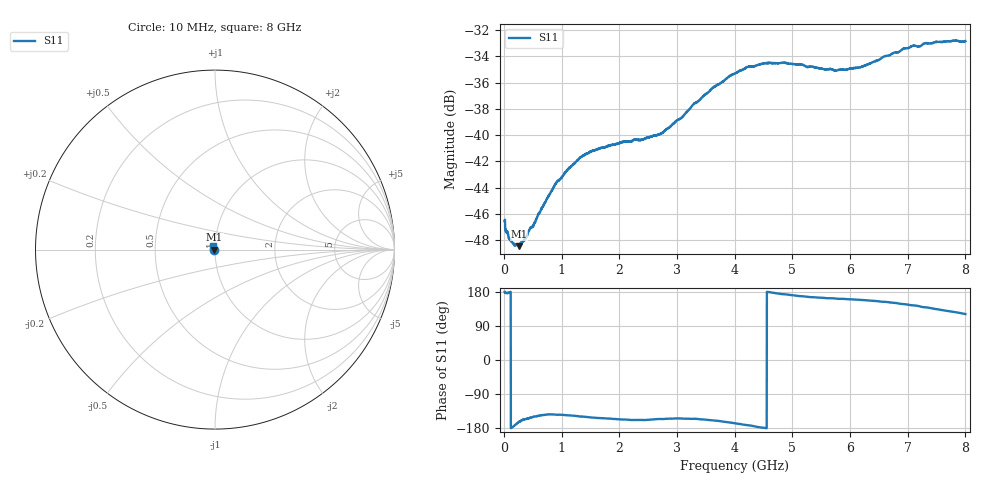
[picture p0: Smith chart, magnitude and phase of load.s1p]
! 1-Port measurement of an SMA(m) termination
# Hz S  dB  R 50
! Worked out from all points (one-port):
!   2501 points, 10 MHz to 8 GHz, reference 50 ohm
!   lowest |S11| = -48.5 dB at 259.3 MHz (marker M1), VSWR 1.01, Z = 49.6 - j0.109 ohm
!   |S11| at or under -10 dB: start of sweep to end of sweep
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1e7  -46.55 179.8
5.794e7  -47.37 175.8
1.18664e8  -48.06 -179.9
1.8578e8  -48.34 -172.1
2.59288e8  -48.47 -163.1
3.71148e8  -47.81 -156.2
4.51048e8  -47.13 -152.1
5.11772e8  -46.87 -150.1
8.82508e8  -43.77 -144.0
1.010348e9  -43.16 -144.6
1.119012e9  -42.53 -145.8
1.377888e9  -41.54 -149.5
1.643156e9  -41.05 -153.0
2.0075e9  -40.58 -156.7
2.387824e9  -40.35 -158.5
2.697836e9  -39.95 -155.6
3.007848e9  -38.86 -153.8
3.618284e9  -36.40 -159.2
4.005e9  -35.29 -167.0
4.222328e9  -34.81 -172.0
4.50038e9  -34.57 -179.0
5.005348e9  -34.57 170.7
5.743624e9  -35.08 162.4
6.0025e9  -34.94 160.2
6.219828e9  -34.76 158.3
7.002848e9  -33.37 146.1
7.501424e9  -32.91 134.1
8e9  -32.84 121.3
